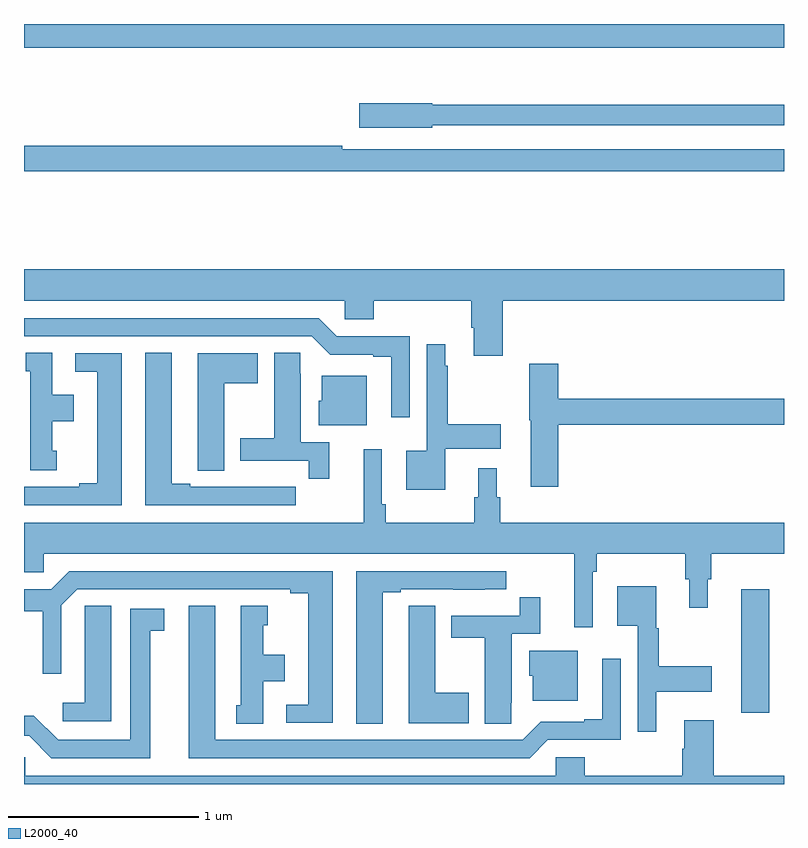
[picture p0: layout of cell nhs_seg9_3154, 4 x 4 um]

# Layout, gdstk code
import gdstk
lib = gdstk.Library(unit=1e-6, precision=1e-09)
def R(c, l, rs):  # rectangles x0, y0, x1, y1
    for r in rs: c.add(gdstk.rectangle(r[:2], r[2:], *l))
def P(c, l, *ps):  # polygons
    for p in ps: c.add(gdstk.Polygon(p, *l))
L2000_40 = (2000, 40)

nhs_seg9_3154 = lib.new_cell('nhs_seg9_3154')
R(nhs_seg9_3154, L2000_40, [(294.776,1236.876,294.923,1237.525), (291,1240.376,295,1240.5)])
P(nhs_seg9_3154, L2000_40, [(293.148,1239.966),(295,1239.966),(295,1240.075),(293.148,1240.075),(293.148,1240.083),(292.764,1240.083),(292.764,1239.953),(293.148,1239.953)],
  [(295,1239.84),(292.676,1239.84),(292.676,1239.86),(291,1239.86),(291,1239.724),(295,1239.724)],
  [(293.519,1239.044),(295,1239.044),(295,1239.208),(291,1239.208),(291,1239.044),(292.689,1239.044),(292.689,1238.946),(292.841,1238.946),(292.841,1239.044),(293.354,1239.044),(293.354,1238.902),(293.366,1238.902),(293.366,1238.754),(293.519,1238.754)],
  [(293.031,1238.856),(292.647,1238.856),(292.551,1238.952),(291,1238.952),(291,1238.856),(292.515,1238.856),(292.611,1238.76),(292.838,1238.76),(292.838,1238.748),(292.934,1238.748),(292.934,1238.43),(293.031,1238.43)],
  [(293.218,1238.264),(293.509,1238.264),(293.509,1238.394),(293.23,1238.394),(293.23,1238.702),(293.218,1238.702),(293.218,1238.815),(293.121,1238.815),(293.121,1238.254),(293.012,1238.254),(293.012,1238.048),(293.218,1238.048)],
  [(291.172,1238.253),(291.148,1238.253),(291.148,1238.408),(291.262,1238.408),(291.262,1238.548),(291.148,1238.548),(291.148,1238.771),(291.008,1238.771),(291.008,1238.673),(291.032,1238.673),(291.032,1238.151),(291.172,1238.151)],
  [(292.607,1238.298),(292.456,1238.298),(292.456,1238.66),(292.455,1238.66),(292.455,1238.771),(292.316,1238.771),(292.316,1238.319),(292.139,1238.319),(292.139,1238.202),(292.498,1238.202),(292.498,1238.106),(292.607,1238.106)],
  [(292.429,1238.064),(292.316,1238.064),(292.316,1238.065),(292.15,1238.065),(292.15,1238.064),(291.874,1238.064),(291.874,1238.079),(291.778,1238.079),(291.778,1238.771),(291.638,1238.771),(291.638,1237.968),(292.429,1237.968)],
  [(292.054,1238.608),(292.231,1238.608),(292.231,1238.767),(291.914,1238.767),(291.914,1238.257),(291.915,1238.257),(291.915,1238.149),(292.054,1238.149)],
  [(291.514,1238.766),(291.27,1238.766),(291.27,1238.67),(291.386,1238.67),(291.386,1238.084),(291.29,1238.084),(291.29,1238.064),(291,1238.064),(291,1237.968),(291.514,1237.968)],
  [(293.813,1238.392),(295,1238.392),(295,1238.528),(293.813,1238.528),(293.813,1238.713),(293.659,1238.713),(293.659,1238.415),(293.666,1238.415),(293.666,1238.064),(293.813,1238.064)],
  [(292.804,1238.65),(292.568,1238.65),(292.568,1238.517),(292.55,1238.517),(292.55,1238.387),(292.804,1238.387)],
  [(293.994,1237.616),(294.014,1237.616),(294.014,1237.712),(294.481,1237.712),(294.481,1237.578),(294.5,1237.578),(294.5,1237.428),(294.598,1237.428),(294.598,1237.578),(294.617,1237.578),(294.617,1237.712),(295,1237.712),(295,1237.876),(293.507,1237.876),(293.507,1238.01),(293.488,1238.01),(293.488,1238.161),(293.39,1238.161),(293.39,1238.01),(293.371,1238.01),(293.371,1237.876),(292.904,1237.876),(292.904,1237.972),(292.884,1237.972),(292.884,1238.263),(292.787,1238.263),(292.787,1237.876),(291,1237.876),(291,1237.614),(291.105,1237.614),(291.105,1237.712),(293.897,1237.712),(293.897,1237.326),(293.994,1237.326)],
  [(292.624,1237.62),(291.239,1237.62),(291.143,1237.524),(291,1237.524),(291,1237.408),(291.098,1237.408),(291.098,1237.08),(291.195,1237.08),(291.195,1237.44),(291.279,1237.524),(292.4,1237.524),(292.4,1237.504),(292.496,1237.504),(292.496,1236.918),(292.38,1236.918),(292.38,1236.822),(292.624,1236.822)],
  [(292.888,1237.509),(292.984,1237.509),(292.984,1237.524),(293.26,1237.524),(293.26,1237.523),(293.426,1237.523),(293.426,1237.524),(293.539,1237.524),(293.539,1237.62),(292.748,1237.62),(292.748,1236.817),(292.888,1236.817)],
  [(294.328,1236.986),(294.619,1236.986),(294.619,1237.121),(294.34,1237.121),(294.34,1237.32),(294.328,1237.32),(294.328,1237.54),(294.122,1237.54),(294.122,1237.334),(294.231,1237.334),(294.231,1236.774),(294.328,1236.774)],
  [(293.565,1236.928),(293.566,1236.928),(293.566,1237.29),(293.717,1237.29),(293.717,1237.483),(293.608,1237.483),(293.608,1237.386),(293.249,1237.386),(293.249,1237.27),(293.426,1237.27),(293.426,1236.817),(293.565,1236.817)],
  [(293.341,1236.981),(293.164,1236.981),(293.164,1237.439),(293.025,1237.439),(293.025,1237.331),(293.024,1237.331),(293.024,1236.821),(293.341,1236.821)],
  [(291.46,1237.439),(291.321,1237.439),(291.321,1237.331),(291.32,1237.331),(291.32,1236.928),(291.204,1236.928),(291.204,1236.831),(291.46,1236.831)],
  [(293.757,1236.732),(294.141,1236.732),(294.141,1237.159),(294.044,1237.159),(294.044,1236.841),(293.948,1236.841),(293.948,1236.828),(293.721,1236.828),(293.625,1236.732),(292.006,1236.732),(292.006,1237.438),(291.866,1237.438),(291.866,1236.636),(293.661,1236.636)],
  [(292.258,1237.04),(292.372,1237.04),(292.372,1237.18),(292.258,1237.18),(292.258,1237.335),(292.282,1237.335),(292.282,1237.438),(292.142,1237.438),(292.142,1236.915),(292.118,1236.915),(292.118,1236.817),(292.258,1236.817)],
  [(291.664,1237.306),(291.739,1237.306),(291.739,1237.422),(291.56,1237.422),(291.56,1236.732),(291.18,1236.732),(291.052,1236.86),(291,1236.86),(291,1236.753),(291.027,1236.753),(291.144,1236.636),(291.664,1236.636)],
  [(293.914,1237.201),(293.66,1237.201),(293.66,1237.071),(293.678,1237.071),(293.678,1236.938),(293.914,1236.938)],
  [(295,1236.544),(294.629,1236.544),(294.629,1236.835),(294.476,1236.835),(294.476,1236.686),(294.464,1236.686),(294.464,1236.544),(293.951,1236.544),(293.951,1236.642),(293.799,1236.642),(293.799,1236.544),(291.006,1236.544),(291.006,1236.642),(291,1236.642),(291,1236.5),(295,1236.5)])

lib.write_gds('nhs_seg9_3154.gds')
